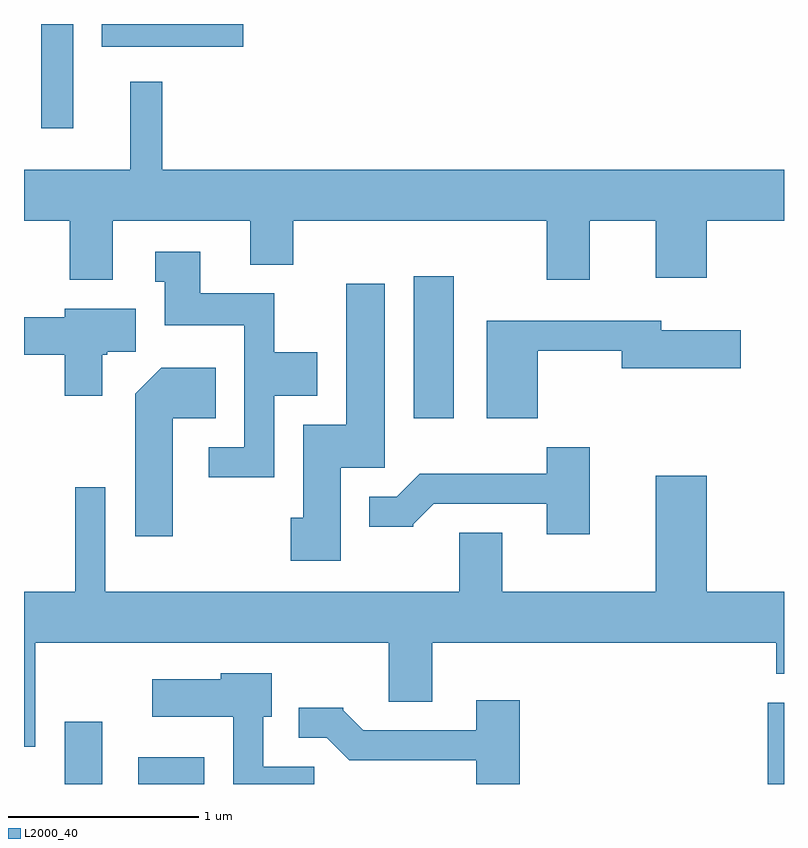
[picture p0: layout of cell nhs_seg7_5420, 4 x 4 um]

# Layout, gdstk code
import gdstk
lib = gdstk.Library(unit=1e-6, precision=1e-09)
def R(c, l, rs):  # rectangles x0, y0, x1, y1
    for r in rs: c.add(gdstk.rectangle(r[:2], r[2:], *l))
def P(c, l, *ps):  # polygons
    for p in ps: c.add(gdstk.Polygon(p, *l))
L2000_40 = (2000, 40)

nhs_seg7_5420 = lib.new_cell('nhs_seg7_5420')
R(nhs_seg7_5420, L2000_40, [(351.826,1700.252,352.024,1700.579), (352.213,1700.252,352.559,1700.394), (355.526,1700.252,355.611,1700.679), (353.661,1702.176,353.874,1702.924), (351.701,1703.703,351.869,1704.252), (352.021,1704.131,352.764,1704.252)])
P(nhs_seg7_5420, L2000_40, [(352.079,1703.216),(352.801,1703.216),(352.801,1702.986),(353.029,1702.986),(353.029,1703.216),(354.361,1703.216),(354.361,1702.906),(354.589,1702.906),(354.589,1703.216),(354.936,1703.216),(354.936,1702.916),(355.204,1702.916),(355.204,1703.216),(355.611,1703.216),(355.611,1703.484),(352.339,1703.484),(352.339,1703.948),(352.171,1703.948),(352.171,1703.484),(351.611,1703.484),(351.611,1703.216),(351.851,1703.216),(351.851,1702.906),(352.079,1702.906)],
  [(352.929,1702.296),(353.154,1702.296),(353.154,1702.524),(352.929,1702.524),(352.929,1702.834),(352.539,1702.834),(352.539,1703.054),(352.303,1703.054),(352.303,1702.896),(352.351,1702.896),(352.351,1702.666),(352.771,1702.666),(352.771,1702.024),(352.583,1702.024),(352.583,1701.866),(352.929,1701.866)],
  [(353.279,1701.916),(353.509,1701.916),(353.509,1702.884),(353.306,1702.884),(353.306,1702.144),(353.081,1702.144),(353.081,1701.654),(353.016,1701.654),(353.016,1701.426),(353.279,1701.426)],
  [(352.024,1702.511),(352.05,1702.511),(352.05,1702.526),(352.199,1702.526),(352.199,1702.754),(351.826,1702.754),(351.826,1702.709),(351.611,1702.709),(351.611,1702.511),(351.826,1702.511),(351.826,1702.296),(352.024,1702.296)],
  [(354.314,1702.531),(354.756,1702.531),(354.756,1702.441),(355.384,1702.441),(355.384,1702.639),(354.964,1702.639),(354.964,1702.689),(354.046,1702.689),(354.046,1702.176),(354.314,1702.176)],
  [(352.394,1702.176),(352.619,1702.176),(352.619,1702.444),(352.334,1702.444),(352.196,1702.307),(352.196,1701.556),(352.394,1701.556)],
  [(354.589,1702.024),(354.361,1702.024),(354.361,1701.884),(353.694,1701.884),(353.574,1701.764),(353.428,1701.764),(353.428,1701.606),(353.66,1701.606),(353.66,1701.62),(353.767,1701.726),(354.361,1701.726),(354.361,1701.566),(354.589,1701.566)],
  [(351.669,1700.996),(353.531,1700.996),(353.531,1700.686),(353.759,1700.686),(353.759,1700.996),(355.571,1700.996),(355.571,1700.831),(355.611,1700.831),(355.611,1701.264),(355.204,1701.264),(355.204,1701.874),(354.936,1701.874),(354.936,1701.264),(354.129,1701.264),(354.129,1701.574),(353.901,1701.574),(353.901,1701.264),(352.039,1701.264),(352.039,1701.813),(351.881,1701.813),(351.881,1701.264),(351.611,1701.264),(351.611,1700.448),(351.669,1700.448)],
  [(353.139,1700.344),(352.869,1700.344),(352.869,1700.606),(352.914,1700.606),(352.914,1700.834),(352.646,1700.834),(352.646,1700.804),(352.286,1700.804),(352.286,1700.606),(352.711,1700.606),(352.711,1700.252),(353.139,1700.252)],
  [(354.219,1700.694),(353.991,1700.694),(353.991,1700.534),(353.397,1700.534),(353.29,1700.641),(353.29,1700.654),(353.058,1700.654),(353.058,1700.496),(353.204,1700.496),(353.324,1700.376),(353.991,1700.376),(353.991,1700.252),(354.219,1700.252)])

lib.write_gds('nhs_seg7_5420.gds')
